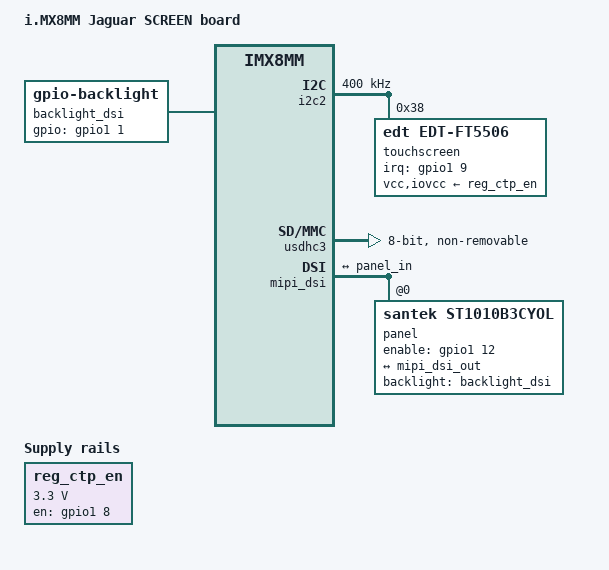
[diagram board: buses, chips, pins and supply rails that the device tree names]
// SPDX-License-Identifier: (GPL-2.0 OR MIT)
/*
 * Copyright 2020 NXP
 *
 * Dynamic Devices i.MX8MM Jaguar SCREEN (Active Screen / V3 Room Screen).
 *
 * Display (Michael Hull + SanTech Spec_ST1010B3CYOL-RSLW-C_RS02 + HX8279 init):
 *   native MIPI DSI 4-lane → Santek ST1010B3CYOL, panel IC Himax HX8279-D ×2.
 *   DRM mode: datasheet active 1200×1920 @60 Hz (mechanical WUXGA 1920×1200).
 *
 * CTP (2026-08-30 Michael): FocalTech FT5626 on hw I2C2;
 *   GPIO1_IO08 HI enable, GPIO1_IO09 IRQ. I2C addr 0x38 (FocalTech default).
 *
 * Backlight (2026-08-30 Michael): GPIO1_IO01 HI = max; PWM later on same pad.
 *
 * Ethernet: Microchip KSZ9131RNX (Micrel driver via PHY ID).
 *
 * SoT: lab-docs/displays/Spec_ST1010…pdf + HX8279 init TXT; schematic 202200.pdf.
 *
 * DTC notes (AESL LmP):
 *   - Use imx8mm-evk.dtsi `reg_vddext_3v3` — do not redefine it.
 *   - Delete pca9450@25 if unpatched imx8mm-evkb.dts left it alongside pmic@25
 *     (also apply linux 0004-dts-imx8mm-evkb-fix-duplicate-label.patch).
 */

#include "freescale/imx8mm-evkb.dts"
#include "imx8mm-sw_pad_ctl.h"
#include <dt-bindings/gpio/gpio.h>
#include <dt-bindings/interrupt-controller/irq.h>
#include <dt-bindings/leds/common.h>

/ {
	model = "i.MX8MM Jaguar SCREEN board";
	compatible = "fsl,imx8mm-jaguar-screen", "fsl,imx8mm-evk", "fsl,imx8mm";

	/* EVKB reference-audio nodes are not fitted on Jaguar SCREEN. */
	/delete-node/ sound-ak4458;
	/delete-node/ sound-ak5558;
	/delete-node/ sound-ak4497;
	/delete-node/ sound-bt-sco;
	/delete-node/ sound-micfil;
	/delete-node/ regulator-audio-board;

	/*
	 * Backlight — GPIO1_IO01 HI = maximum brightness (Michael 2026-08-30).
	 * Same pad can be remuxed to PWM1 for dimming later; gpio-backlight for
	 * first light.
	 */
	backlight_dsi: backlight-dsi {
		compatible = "gpio-backlight";
		gpios = <&gpio1 1 GPIO_ACTIVE_HIGH>;
		default-on;
		pinctrl-names = "default";
		pinctrl-0 = <&pinctrl_dsi_bl>;
		status = "okay";
	};

	/* CTP power / enable — GPIO1_IO08 must be HI (Michael). */
	reg_ctp_en: regulator-ctp-en {
		compatible = "regulator-fixed";
		regulator-name = "ctp-en";
		regulator-min-microvolt = <3300000>;
		regulator-max-microvolt = <3300000>;
		gpio = <&gpio1 8 GPIO_ACTIVE_HIGH>;
		enable-active-high;
		regulator-boot-on;
		pinctrl-names = "default";
		pinctrl-0 = <&pinctrl_ctp_en>;
	};
};

/* Unpatched EVKB leaves pca9450@25 + pmic@25 → duplicate buck/ldo labels. */
&i2c1 {
	/delete-node/ pca9450@25;
};

/* AX210 Wi-Fi uses PCIe; its unfitted Bluetooth USB path is not UART1. */
&uart1 {
	status = "disabled";
	/delete-node/ bluetooth;
};

/*
 * EVK ADV7535 DSI→HDMI is not the Active Screen path. Remove so &mipi_dsi
 * can be rewired to the HX8279-D panel. CTP FT5626 lives on this bus.
 */
&i2c2 {
	/* Properties must precede subnodes (dtc). */
	clock-frequency = <400000>;
	status = "okay";

	/*
	 * EVK ADV7535 lives at adv7535@3d (binds as adv7511) — NOT hdmi@3d.
	 * Delete the node (not just status=disabled): a disabled node still keeps
	 * its port endpoint phandle to dsim_to_adv7535, which breaks dtc once we
	 * rewire MIPI port@1 to the panel. Also frees GPIO1_IO09 for CTP IRQ.
	 */
	/delete-node/ adv7535@3d;

	touchscreen@38 {
		/* FT5626 silicon; LmP 6.6.52 edt-ft5x06 has edt,edt-ft5506 (no focaltech,ft5426). */
		compatible = "edt,edt-ft5506";
		reg = <0x38>;
		pinctrl-names = "default";
		pinctrl-0 = <&pinctrl_ctp_int>;
		interrupt-parent = <&gpio1>;
		interrupts = <9 IRQ_TYPE_EDGE_FALLING>;
		vcc-supply = <&reg_ctp_en>;
		iovcc-supply = <&reg_ctp_en>;
		/* Mechanical WUXGA landscape; native panel scan is 1200×1920. */
		touchscreen-size-x = <1920>;
		touchscreen-size-y = <1200>;
		status = "okay";
	};
};

/* Remove unfitted EVKB reference audio and GPIO expander devices. */
&i2c3 {
	/delete-node/ ak4458@10;
	/delete-node/ ak4497@11;
	/delete-node/ ak4458@12;
	/delete-node/ ak5558@13;
	/delete-node/ gpio@20;
};

/* EVK pwm-backlight node — replaced by gpio-backlight on GPIO1_IO01 for now. */
&backlight {
	status = "disabled";
};

/* EVKB PDM microphones are not fitted on Jaguar SCREEN. */
&micfil {
	status = "disabled";
};

&iomuxc {
	/*
	 * Display / CTP GPIOs (Michael Hull 2026-08-30 + schematic 202200.pdf):
	 *   GPIO1_IO01  backlight max (HI); PWM later
	 *   GPIO1_IO08  DSI_EN     — CTP enable (HI)
	 *   GPIO1_IO09  DSI_INT    — CTP interrupt
	 *   GPIO1_IO12  DSI_EN_2   — LCD load switch EN (TPS22913B); HI = LCD on
	 *
	 * MIPI DSI data: D0–D3 + CLK (4-lane) on SoC MIPI_DSI_* balls.
	 */
	pinctrl_dsi_bl: dsiblgrp {
		fsl,pins = <
			MX8MM_IOMUXC_GPIO1_IO01_GPIO1_IO1	0x116
		>;
	};

	pinctrl_dsi_lcd_en: dsilcdengrp {
		fsl,pins = <
			MX8MM_IOMUXC_GPIO1_IO12_GPIO1_IO12	0x116
		>;
	};

	pinctrl_ctp_en: ctpengrp {
		fsl,pins = <
			MX8MM_IOMUXC_GPIO1_IO08_GPIO1_IO8	0x116
		>;
	};

	pinctrl_ctp_int: ctpintrgrp {
		fsl,pins = <
			MX8MM_IOMUXC_GPIO1_IO09_GPIO1_IO9	0x16
		>;
	};

	/* imx8mm-evkb.dts leaves USDHC3 disabled; restore the EVK eMMC pins. */
	pinctrl_usdhc3: usdhc3grp {
		fsl,pins = <
			MX8MM_IOMUXC_NAND_WE_B_USDHC3_CLK       IMX8MM_PAD_USDHC_CLK
			MX8MM_IOMUXC_NAND_WP_B_USDHC3_CMD       IMX8MM_PAD_USDHC_BUS
			MX8MM_IOMUXC_NAND_DATA04_USDHC3_DATA0   IMX8MM_PAD_USDHC_BUS
			MX8MM_IOMUXC_NAND_DATA05_USDHC3_DATA1   IMX8MM_PAD_USDHC_BUS
			MX8MM_IOMUXC_NAND_DATA06_USDHC3_DATA2   IMX8MM_PAD_USDHC_BUS
			MX8MM_IOMUXC_NAND_DATA07_USDHC3_DATA3   IMX8MM_PAD_USDHC_BUS
			MX8MM_IOMUXC_NAND_RE_B_USDHC3_DATA4     IMX8MM_PAD_USDHC_BUS
			MX8MM_IOMUXC_NAND_CE2_B_USDHC3_DATA5    IMX8MM_PAD_USDHC_BUS
			MX8MM_IOMUXC_NAND_CE3_B_USDHC3_DATA6    IMX8MM_PAD_USDHC_BUS
			MX8MM_IOMUXC_NAND_CLE_USDHC3_DATA7      IMX8MM_PAD_USDHC_BUS
			MX8MM_IOMUXC_NAND_CE1_B_USDHC3_STROBE   IMX8MM_PAD_USDHC_CLK
		>;
	};

	pinctrl_usdhc3_100mhz: usdhc3-100mhzgrp {
		fsl,pins = <
			MX8MM_IOMUXC_NAND_WE_B_USDHC3_CLK       IMX8MM_PAD_USDHC_CLK_100MHZ
			MX8MM_IOMUXC_NAND_WP_B_USDHC3_CMD       IMX8MM_PAD_USDHC_BUS_100MHZ
			MX8MM_IOMUXC_NAND_DATA04_USDHC3_DATA0   IMX8MM_PAD_USDHC_BUS_100MHZ
			MX8MM_IOMUXC_NAND_DATA05_USDHC3_DATA1   IMX8MM_PAD_USDHC_BUS_100MHZ
			MX8MM_IOMUXC_NAND_DATA06_USDHC3_DATA2   IMX8MM_PAD_USDHC_BUS_100MHZ
			MX8MM_IOMUXC_NAND_DATA07_USDHC3_DATA3   IMX8MM_PAD_USDHC_BUS_100MHZ
			MX8MM_IOMUXC_NAND_RE_B_USDHC3_DATA4     IMX8MM_PAD_USDHC_BUS_100MHZ
			MX8MM_IOMUXC_NAND_CE2_B_USDHC3_DATA5    IMX8MM_PAD_USDHC_BUS_100MHZ
			MX8MM_IOMUXC_NAND_CE3_B_USDHC3_DATA6    IMX8MM_PAD_USDHC_BUS_100MHZ
			MX8MM_IOMUXC_NAND_CLE_USDHC3_DATA7      IMX8MM_PAD_USDHC_BUS_100MHZ
			MX8MM_IOMUXC_NAND_CE1_B_USDHC3_STROBE   IMX8MM_PAD_USDHC_CLK_100MHZ
		>;
	};

	pinctrl_usdhc3_200mhz: usdhc3-200mhzgrp {
		fsl,pins = <
			MX8MM_IOMUXC_NAND_WE_B_USDHC3_CLK       IMX8MM_PAD_USDHC_CLK_200MHZ
			MX8MM_IOMUXC_NAND_WP_B_USDHC3_CMD       IMX8MM_PAD_USDHC_BUS_200MHZ
			MX8MM_IOMUXC_NAND_DATA04_USDHC3_DATA0   IMX8MM_PAD_USDHC_BUS_200MHZ
			MX8MM_IOMUXC_NAND_DATA05_USDHC3_DATA1   IMX8MM_PAD_USDHC_BUS_200MHZ
			MX8MM_IOMUXC_NAND_DATA06_USDHC3_DATA2   IMX8MM_PAD_USDHC_BUS_200MHZ
			MX8MM_IOMUXC_NAND_DATA07_USDHC3_DATA3   IMX8MM_PAD_USDHC_BUS_200MHZ
			MX8MM_IOMUXC_NAND_RE_B_USDHC3_DATA4     IMX8MM_PAD_USDHC_BUS_200MHZ
			MX8MM_IOMUXC_NAND_CE2_B_USDHC3_DATA5    IMX8MM_PAD_USDHC_BUS_200MHZ
			MX8MM_IOMUXC_NAND_CE3_B_USDHC3_DATA6    IMX8MM_PAD_USDHC_BUS_200MHZ
			MX8MM_IOMUXC_NAND_CLE_USDHC3_DATA7      IMX8MM_PAD_USDHC_BUS_200MHZ
			MX8MM_IOMUXC_NAND_CE1_B_USDHC3_STROBE   IMX8MM_PAD_USDHC_CLK_200MHZ
		>;
	};
};

/* On-board 8-bit eMMC; Linux root filesystem is /dev/mmcblk2p2. */
&usdhc3 {
	assigned-clocks = <&clk IMX8MM_CLK_USDHC3_ROOT>;
	assigned-clock-rates = <400000000>;
	pinctrl-names = "default", "state_100mhz", "state_200mhz";
	pinctrl-0 = <&pinctrl_usdhc3>;
	pinctrl-1 = <&pinctrl_usdhc3_100mhz>;
	pinctrl-2 = <&pinctrl_usdhc3_200mhz>;
	bus-width = <8>;
	non-removable;
	status = "okay";
};

/*
 * Display — ST1010B3CYOL module, Himax HX8279-D
 *
 *   - Native MIPI DSI 4-lane (NOT LVDS).
 *   - Datasheet timing: 1200×1920 @60 Hz, ~156 MHz, 4 lanes (RS02 §4).
 *   - DSI_EN_2 (GPIO1_IO12) HI → LCD power path.
 *   - Init: HX8279-D vendor sequence via panel-boe-himax8279d.
 */
&mipi_dsi {
	#address-cells = <1>;
	#size-cells = <0>;
	status = "okay";

	/*
	 * Keep SoC port@0 (dsim_from_lcdif ↔ lcdif_to_dsim). Deleting it breaks
	 * lcdif phandle resolution. Only drop EVK port@1 (dsim_to_adv7535) and
	 * reattach flat port@1 to the HX8279 panel (same shape as EVK→ADV).
	 */
	/delete-node/ port@1;

	panel@0 {
		compatible = "santek,st1010b3cyol", "himax,hx8279d";
		reg = <0>;
		status = "okay";
		/* Native portrait scan is mounted with its right edge uppermost. */
		rotation = <90>;
		pinctrl-names = "default";
		pinctrl-0 = <&pinctrl_dsi_lcd_en>;
		/* DSI_EN_2 → TPS22913B EN; active-high per Michael. */
		enable-gpios = <&gpio1 12 GPIO_ACTIVE_HIGH>;
		backlight = <&backlight_dsi>;

		port {
			panel_in: endpoint {
				remote-endpoint = <&mipi_dsi_out>;
			};
		};
	};

	port@1 {
		mipi_dsi_out: endpoint {
			remote-endpoint = <&panel_in>;
			data-lanes = <1 2 3 4>;
		};
	};
};

/*
 * Ethernet — Microchip KSZ9131RNX on FEC RGMII (Michael 2026-08-30).
 * Keep EVK fec1 pinmux / reset; bind Micrel driver via PHY ID.
 */
&ethphy0 {
	compatible = "ethernet-phy-id0022.1640", "ethernet-phy-ieee802.3-c22";
	/delete-property/ qca,disable-smarteee;
};
